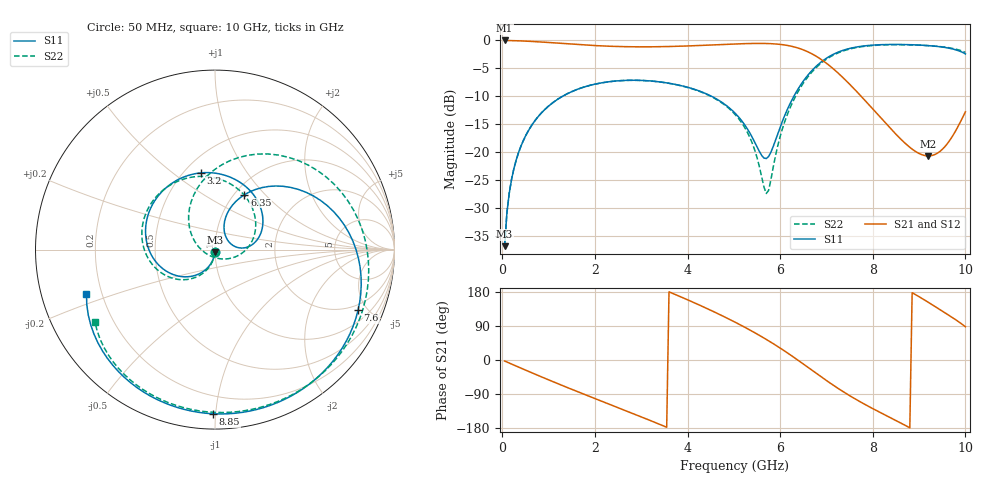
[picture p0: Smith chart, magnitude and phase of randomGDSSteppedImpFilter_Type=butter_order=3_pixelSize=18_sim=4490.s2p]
! freq	dB(S11)	phase(S11)	dB(S12)	phase(S12)
!  dB(S21)	phase(S21)	dB(S22)	phase(S22)
!S-par simulation data
#  GHz  S  DB  R 50
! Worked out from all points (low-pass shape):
!   200 points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, 50 MHz to 10 GHz, reference 50 ohm
!   highest |S21| = -0.01 dB at 50 MHz (marker M1); lowest = -20.6 dB at 9.2 GHz (marker M2)
!   |S21| within 3 dB of the highest: start of sweep to 6.813 GHz
!   lowest |S11| = -36.8 dB at 50 MHz (marker M3), VSWR 1.03, Z = 49.9 - j1.45 ohm
!   |S11| at or under -10 dB: start of sweep to 1.296 GHz; 4.523 GHz to 6.295 GHz (1.772 GHz wide, 32.8 % of centre)
!   |S22| runs from -36.8 to -0.8 dB; largest |S21 - S12| = 0
!   S11 on the Smith chart (normalised r, x): 50 MHz: 1.00, -0.03; 3.2 GHz: 0.60, +0.64; 6.35 GHz: 1.11, +0.77; 7.6 GHz: 1.61, -4.35; 8.85 GHz: 0.09, -0.99; 10 GHz: 0.14, -0.16
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0.05  -36.76 -92.6  -0.01 -2.7  -0.01 -2.7  -36.75 -92.3
0.1  -30.77 -95.6  -0.01 -5.4  -0.01 -5.4  -30.77 -95.0
0.2  -24.82 -101.5  -0.03 -10.7  -0.03 -10.7  -24.82 -100.3
0.5  -17.10 -118.5  -0.12 -26.6  -0.12 -26.6  -17.10 -115.5
1.15  -10.77 -154.1  -0.46 -60.0  -0.46 -60.0  -10.76 -147.1
1.75  -8.37 174.4  -0.80 -89.6  -0.80 -89.6  -8.36 -174.9
2.45  -7.25 138.6  -1.07 -123.3  -1.07 -123.3  -7.25 153.5
3.2  -7.24 100.3  -1.14 -159.9  -1.14 -159.9  -7.25 119.0
3.4  -7.41 90.0  -1.12 -169.9  -1.12 -169.9  -7.42 109.4
4.2  -8.87 48.8  -0.93 148.1  -0.93 148.1  -8.93 67.9
5.05  -13.20 9.1  -0.63 98.4  -0.63 98.4  -13.44 13.3
5.4  -17.36 4.1  -0.54 75.5  -0.54 75.5  -18.40 -19.7
5.7  -21.11 37.7  -0.55 54.4  -0.55 54.4  -27.35 -105.1
6.05  -14.42 71.7  -0.76 27.5  -0.76 27.5  -15.75 145.4
6.35  -9.19 61.8  -1.27 2.5  -1.27 2.5  -9.70 111.1
6.7  -5.25 39.4  -2.46 -28.1  -2.46 -28.1  -5.52 75.6
7.1  -2.68 10.6  -4.74 -62.6  -4.74 -62.6  -2.84 37.6
7.6  -1.25 -23.0  -8.67 -101.3  -8.67 -101.3  -1.35 -3.9
8.35  -0.72 -65.2  -15.44 -150.3  -15.44 -150.3  -0.78 -53.8
8.85  -0.77 -90.6  -19.42 177.6  -19.42 177.6  -0.80 -82.0
9.2  -0.93 -108.6  -20.63 152.2  -20.63 152.2  -0.93 -100.8
10  -2.41 -161.0  -12.76 87.8  -12.76 87.8  -2.15 -149.0
